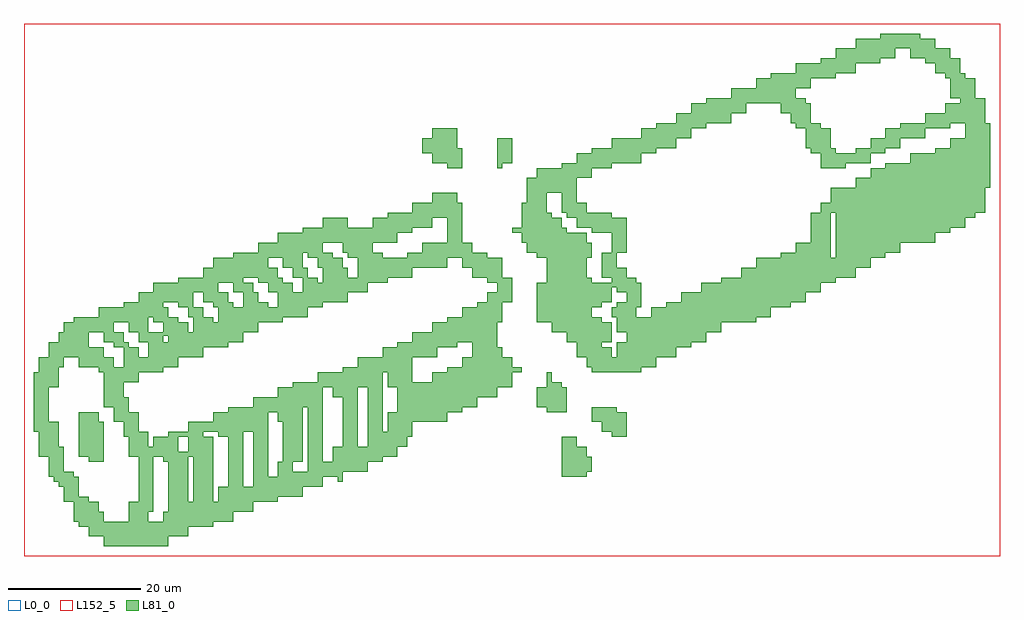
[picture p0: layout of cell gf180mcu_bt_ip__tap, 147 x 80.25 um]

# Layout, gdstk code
import gdstk
lib = gdstk.Library(unit=1e-6, precision=1e-09)
def R(c, l, rs):  # rectangles x0, y0, x1, y1
    for r in rs: c.add(gdstk.rectangle(r[:2], r[2:], *l))
def P(c, l, *ps):  # polygons
    for p in ps: c.add(gdstk.Polygon(p, *l))
L0_0 = (0, 0)
L81_0 = (81, 0)
L152_5 = (152, 5)

gf180mcu_bt_ip__tap = lib.new_cell('gf180mcu_bt_ip__tap')
R(gf180mcu_bt_ip__tap, L0_0, [(0,0,147,80.25)])
P(gf180mcu_bt_ip__tap, L81_0, [(12,1.5),(12,3),(9.75,3),(9.75,4.5),(8.25,4.5),(8.25,5.25),(7.5,5.25),(7.5,8.25),(6,8.25),(6,10.5),(5.25,10.5),(5.25,11.25),(4.5,11.25),(4.5,12),(3.75,12),(3.75,15),(2.25,15),(2.25,18.75),(1.5,18.75),(1.5,27.75),(2.25,27.75),(2.25,30),(6,30),(6,28.5),(5.25,28.5),(5.25,25.5),(3.75,25.5),(3.75,20.25),(5.25,20.25),(5.25,16.5),(6,16.5),(6,12.75),(7.5,12.75),(7.5,12),(8.25,12),(8.25,9),(9.75,9),(9.75,8.25),(11.25,8.25),(11.25,6.75),(12,6.75),(12,5.25),(15.75,5.25),(15.75,8.25),(17.25,8.25),(17.25,15),(19.5,15),(19.5,6.75),(18.75,6.75),(18.75,5.25),(21,5.25),(21,6.75),(21.75,6.75),(21.75,14.25),(21,14.25),(21,15),(15.75,15),(15.75,18),(15,18),(15,20.25),(13.5,20.25),(13.5,22.5),(12,22.5),(12,27.75),(11.25,27.75),(11.25,28.5),(8.25,28.5),(8.25,30),(3.75,30),(3.75,32.25),(5.25,32.25),(5.25,33.75),(9.75,33.75),(9.75,31.5),(12,31.5),(12,30),(13.5,30),(13.5,28.5),(15,28.5),(15,31.5),(13.5,31.5),(13.5,32.25),(12,32.25),(12,33.75),(6,33.75),(6,35.25),(13.5,35.25),(13.5,33.75),(15,33.75),(15,32.25),(15.75,32.25),(15.75,31.5),(17.25,31.5),(17.25,30),(18.75,30),(18.75,32.25),(17.25,32.25),(17.25,33.75),(15.75,33.75),(15.75,35.25),(7.5,35.25),(7.5,36),(18.75,36),(18.75,33.75),(21,33.75),(21,32.25),(21.75,32.25),(21.75,33.2),(21,33.2),(21,35.25),(19.5,35.25),(19.5,36),(11.25,36),(11.25,37.5),(15,37.5),(15,38.25),(21,38.25),(21,37.5),(21.75,37.5),(21.75,36),(23.25,36),(23.25,35.25),(24.75,35.25),(24.75,33.75),(25.5,33.75),(25.5,36),(24.75,36),(24.75,37.5),(23.25,37.5),(23.25,38.25),(17.25,38.25),(17.25,39.75),(25.5,39.75),(25.5,37.5),(27,37.5),(27,36),(28.5,36),(28.5,35.25),(29.25,35.25),(29.25,37.5),(28.5,37.5),(28.5,38.25),(27,38.25),(27,39.75),(19.5,39.75),(19.5,41.25),(29.25,41.25),(29.25,39.75),(30.75,39.75),(30.75,38.25),(31.5,38.25),(31.5,37.5),(33,37.5),(33,39.75),(31.5,39.75),(31.5,41.25),(23.25,41.25),(23.25,42),(33,42),(33,41.25),(34.5,41.25),(34.5,39.75),(35.25,39.75),(35.25,38.25),(36.75,38.25),(36.75,37.5),(38.25,37.5),(38.25,39.75),(36.75,39.75),(36.75,41.25),(35.25,41.25),(35.25,42),(27,42),(27,43.5),(28.5,43.5),(28.5,45),(36.75,45),(36.75,43.5),(38.25,43.5),(38.25,42),(39,42),(39,41.25),(40.5,41.25),(40.5,39.75),(42,39.75),(42,42),(40.5,42),(40.5,43.5),(39,43.5),(39,45),(31.5,45),(31.5,45.75),(42,45.75),(42,43.5),(42.75,43.5),(42.75,42),(44.25,42),(44.25,41.25),(45,41.25),(45,43.5),(44.25,43.5),(44.25,45),(42.75,45),(42.75,45.75),(35.25,45.75),(35.25,47.25),(45,47.25),(45,45.75),(46.5,45.75),(46.5,45),(48,45),(48,43.5),(48.75,43.5),(48.75,42),(50.25,42),(50.25,45),(48.75,45),(48.75,45.75),(48,45.75),(48,47.25),(38.25,47.25),(38.25,48.75),(42,48.75),(42,49.5),(45,49.5),(45,51),(48.75,51),(48.75,49.5),(52.5,49.5),(52.5,51),(61.5,51),(61.5,49.5),(58.5,49.5),(58.5,48.75),(56.25,48.75),(56.25,47.25),(52.5,47.25),(52.5,45.75),(54,45.75),(54,45),(63.75,45),(63.75,43.5),(58.5,43.5),(58.5,42),(54.75,42),(54.75,41.25),(51.75,41.25),(51.75,39.75),(48.75,39.75),(48.75,38.25),(45,38.25),(45,37.5),(42.75,37.5),(42.75,36),(39,36),(39,35.25),(35.25,35.25),(35.25,33.75),(33,33.75),(33,32.25),(30.75,32.25),(30.75,31.5),(27,31.5),(27,30),(23.25,30),(23.25,28.5),(21,28.5),(21,27.75),(17.25,27.75),(17.25,26.25),(15,26.25),(15,24),(15.75,24),(15.75,21.75),(17.25,21.75),(17.25,18.75),(18.75,18.75),(18.75,16.5),(19.5,16.5),(19.5,18),(23.25,18),(23.25,15.8),(24.75,15.8),(24.75,8.25),(25.5,8.25),(25.5,15),(24.75,15),(24.75,18),(21.75,18),(21.75,18.75),(27,18.75),(27,18),(28.5,18),(28.5,8.25),(29.25,8.25),(29.25,10.5),(30.75,10.5),(30.75,18),(29.25,18),(29.25,18.75),(24.75,18.75),(24.75,20.25),(31.5,20.25),(31.5,18.75),(33,18.75),(33,10.5),(34.5,10.5),(34.5,18.75),(31.5,18.75),(31.5,20.25),(28.5,20.25),(28.5,21.75),(30.75,21.75),(30.75,22.5),(35.25,22.5),(35.25,21.75),(36.75,21.75),(36.75,12),(38.25,12),(38.25,14.25),(39,14.25),(39,20.25),(38.25,20.25),(38.25,21.75),(35.25,21.75),(35.25,22.5),(34.5,22.5),(34.5,24),(40.5,24),(40.5,22.5),(42,22.5),(42,14.25),(40.5,14.25),(40.5,12.75),(42.75,12.75),(42.75,22.5),(40.5,22.5),(40.5,24),(38.25,24),(38.25,25.5),(45,25.5),(45,14.25),(46.5,14.25),(46.5,16.5),(48,16.5),(48,24),(46.5,24),(46.5,25.5),(40.5,25.5),(40.5,26.25),(48.75,26.25),(48.75,25.5),(50.25,25.5),(50.25,16.5),(51.75,16.5),(51.75,25.5),(48.75,25.5),(48.75,26.25),(44.25,26.25),(44.25,27.75),(54,27.75),(54,18.75),(54.75,18.75),(54.75,21.75),(56.25,21.75),(56.25,25.5),(54.75,25.5),(54.75,27.75),(48,27.75),(48,28.5),(50.25,28.5),(50.25,30),(54,30),(54,31.5),(56.25,31.5),(56.25,32.25),(65.25,32.25),(65.25,31.5),(62.25,31.5),(62.25,30),(58.5,30),(58.5,26.25),(61.5,26.25),(61.5,27.75),(63.75,27.75),(63.75,28.5),(66,28.5),(66,30),(67.5,30),(67.5,32.25),(58.5,32.25),(58.5,33.75),(68.25,33.75),(68.25,32.25),(68.25,33.75),(61.5,33.75),(61.5,35.25),(63.75,35.25),(63.75,36),(66,36),(66,37.5),(68.25,37.5),(68.25,38.25),(69.75,38.25),(69.75,39.75),(71.25,39.75),(71.25,41.25),(69.75,41.25),(69.75,42),(67.5,42),(67.5,43.5),(66,43.5),(66,45),(57.75,45),(57.75,45.75),(60,45.75),(60,47.25),(63.75,47.25),(63.75,51),(54.75,51),(54.75,51.75),(58.5,51.75),(58.5,53.25),(61.5,53.25),(61.5,54.75),(65.25,54.75),(65.25,53.25),(66,53.25),(66,47.25),(67.5,47.25),(67.5,45.75),(69.75,45.75),(69.75,45),(72,45),(72,42),(73.5,42),(73.5,38.25),(72,38.25),(72,35.25),(71.25,35.25),(71.25,31.5),(72,31.5),(72,30),(73.5,30),(73.5,28.5),(75,28.5),(75,27.75),(73.5,27.75),(73.5,25.5),(71.25,25.5),(71.25,24),(68.25,24),(68.25,22.5),(66,22.5),(66,21.75),(63.75,21.75),(63.75,20.25),(58.5,20.25),(58.5,18),(57.75,18),(57.75,16.5),(56.25,16.5),(56.25,15),(54,15),(54,14.25),(51.75,14.25),(51.75,12.75),(48,12.75),(48,11.25),(47.25,11.25),(47.25,12),(45,12),(45,10.5),(42,10.5),(42,9),(38.25,9),(38.25,8.25),(34.5,8.25),(34.5,6.75),(31.5,6.75),(31.5,5.25),(28.5,5.25),(28.5,4.5),(24.75,4.5),(24.75,3),(21.75,3),(21.75,1.5)],
  [(85.5,27.75),(85.5,28.5),(84.75,28.5),(84.75,30),(83.25,30),(83.25,32.25),(81.75,32.25),(81.75,33.75),(79.5,33.75),(79.5,35.25),(77.25,35.25),(77.25,41.25),(78.75,41.25),(78.75,45),(77.25,45),(77.25,45.75),(75.75,45.75),(75.75,47.25),(75,47.25),(75,48.75),(73.5,48.75),(73.5,49.5),(75,49.5),(75,53.25),(75.75,53.25),(75.75,54.75),(78.75,54.75),(78.75,51.75),(79.5,51.75),(79.5,51),(81,51),(81,49.5),(81.75,49.5),(81.75,48.75),(84.75,48.75),(84.75,47.25),(85.5,47.25),(85.5,45),(84.75,45),(84.75,42),(85.5,42),(85.5,41.25),(88.5,41.25),(88.5,38.25),(87,38.25),(87,37.5),(85.5,37.5),(85.5,36),(87,36),(87,35.25),(88.5,35.25),(88.5,32.25),(87,32.25),(87,31.5),(88.5,31.5),(88.5,30),(89.25,30),(89.25,32.25),(90.75,32.25),(90.75,33.75),(89.25,33.75),(89.25,36),(88.5,36),(88.5,37.5),(89.25,37.5),(89.25,38.25),(90.75,38.25),(90.75,39.75),(89.25,39.75),(89.25,40.57),(88.5,40.57),(88.5,42),(87,42),(87,45.75),(88.5,45.75),(88.5,48.75),(85.5,48.75),(85.5,49.5),(83.25,49.5),(83.25,51),(81.75,51),(81.75,51.75),(81,51.75),(81,54.75),(75.75,54.75),(75.75,57),(77.25,57),(77.25,58.5),(81,58.5),(81,59.25),(83.25,59.25),(83.25,60.75),(85.5,60.75),(85.5,61.5),(88.5,61.5),(88.5,63),(93,63),(93,64.5),(95.25,64.5),(95.25,65.25),(98.25,65.25),(98.25,66.75),(100.5,66.75),(100.5,68.25),(108.75,68.25),(108.75,66.75),(106.5,66.75),(106.5,65.25),(102.75,65.25),(102.75,64.5),(100.5,64.5),(100.5,63),(98.25,63),(98.25,61.5),(95.25,61.5),(95.25,60.75),(93,60.75),(93,59.25),(88.5,59.25),(88.5,58.5),(85.5,58.5),(85.5,57),(83.25,57),(83.25,53.25),(84.75,53.25),(84.75,51.75),(88.5,51.75),(88.5,51),(90.75,51),(90.75,45.75),(89.25,45.75),(89.25,43.5),(90.75,43.5),(90.75,42),(92.25,42),(92.25,41.25),(93,41.25),(93,37.5),(92.25,37.5),(92.25,36),(94.5,36),(94.5,37.5),(96.75,37.5),(96.75,38.25),(99,38.25),(99,39.75),(102,39.75),(102,41.25),(105,41.25),(105,42),(108,42),(108,43.5),(110.25,43.5),(110.25,45),(114,45),(114,45.75),(116.25,45.75),(116.25,47.25),(118.5,47.25),(118.5,51.75),(121.5,51.75),(121.5,45),(122.25,45),(122.25,51.75),(120,51.75),(120,53.25),(121.5,53.25),(121.5,55.5),(125.25,55.5),(125.25,57),(127.5,57),(127.5,58.5),(129.75,58.5),(129.75,59.25),(133.5,59.25),(133.5,60.75),(137.25,60.75),(137.25,61.5),(139.5,61.5),(139.5,63),(141.75,63),(141.75,65.25),(139.5,65.25),(139.5,64.5),(135.75,64.5),(135.75,63),(132,63),(132,61.5),(129.75,61.5),(129.75,60.75),(127.5,60.75),(127.5,59.25),(123.75,59.25),(123.75,58.5),(120,58.5),(120,60.75),(118.5,60.75),(118.5,61.5),(117.75,61.5),(117.75,64.5),(116.25,64.5),(116.25,65.25),(115.5,65.25),(115.5,66.75),(114,66.75),(114,68.25),(102.75,68.25),(102.75,69),(106.5,69),(106.5,70.5),(110.25,70.5),(110.25,72),(112.5,72),(112.5,72.75),(116.25,72.75),(116.25,74.25),(120,74.25),(120,75),(122.25,75),(122.25,76.5),(131.25,76.5),(131.25,75),(129,75),(129,74.25),(125.25,74.25),(125.25,72.75),(122.25,72.75),(122.25,72),(118.5,72),(118.5,70.5),(116.25,70.5),(116.25,69),(117.75,69),(117.75,68.25),(118.5,68.25),(118.5,65.25),(120,65.25),(120,64.5),(121.5,64.5),(121.5,61.5),(122.25,61.5),(122.25,60.75),(125.25,60.75),(125.25,61.5),(127.5,61.5),(127.5,63),(129.75,63),(129.75,64.5),(132,64.5),(132,65.25),(135.75,65.25),(135.75,66.75),(138.75,66.75),(138.75,68.25),(141,68.25),(141,69),(139.5,69),(139.5,72),(138.75,72),(138.75,72.75),(137.25,72.75),(137.25,74.25),(135.75,74.25),(135.75,75),(133.5,75),(133.5,76.5),(125.25,76.5),(125.25,78),(129,78),(129,78.75),(135,78.75),(135,78),(137.25,78),(137.25,76.5),(139.5,76.5),(139.5,75),(141,75),(141,72.75),(141.75,72.75),(141.75,72),(143.25,72),(143.25,69),(144.75,69),(144.75,65.25),(145.5,65.25),(145.5,55.5),(144.75,55.5),(144.75,51.75),(143.25,51.75),(143.25,51),(141.75,51),(141.75,49.5),(139.5,49.5),(139.5,48.75),(137.25,48.75),(137.25,47.25),(132,47.25),(132,45.75),(129.75,45.75),(129.75,45),(127.5,45),(127.5,43.5),(125.25,43.5),(125.25,42),(122.25,42),(122.25,41.25),(120,41.25),(120,39.75),(117.75,39.75),(117.75,38.25),(115.5,38.25),(115.5,37.5),(112.5,37.5),(112.5,36),(110.25,36),(110.25,35.25),(105,35.25),(105,33.75),(102.75,33.75),(102.75,32.25),(100.5,32.25),(100.5,31.5),(98.25,31.5),(98.25,30),(95.25,30),(95.25,28.5),(93,28.5),(93,27.75)],
  [(81,12),(81,18),(83.25,18),(83.25,16.5),(84.75,16.5),(84.75,15),(85.5,15),(85.5,12.75),(84.75,12.75),(84.75,12)],
  [(9.75,14.25),(9.75,15),(8.25,15),(8.25,21.75),(11.25,21.75),(11.25,20.25),(12,20.25),(12,14.25)],
  [(88.5,18),(88.5,18.75),(87,18.75),(87,20.25),(85.5,20.25),(85.5,22.5),(89.25,22.5),(89.25,21.75),(90.75,21.75),(90.75,18)],
  [(78.75,21.75),(78.75,22.5),(77.25,22.5),(77.25,25.5),(78.75,25.5),(78.75,27.75),(79.5,27.75),(79.5,26.25),(81,26.25),(81,25.5),(81.75,25.5),(81.75,21.75)],
  [(71.25,58.5),(71.25,63),(73.5,63),(73.5,59.25),(72,59.25),(72,58.5)],
  [(63.75,58.5),(63.75,59.25),(61.5,59.25),(61.5,60.75),(60,60.75),(60,63),(61.5,63),(61.5,64.5),(65.25,64.5),(65.25,61.5),(66,61.5),(66,58.5)])
R(gf180mcu_bt_ip__tap, L152_5, [(0,0,147,80.25)])

lib.write_gds('gf180mcu_bt_ip__tap.gds')
